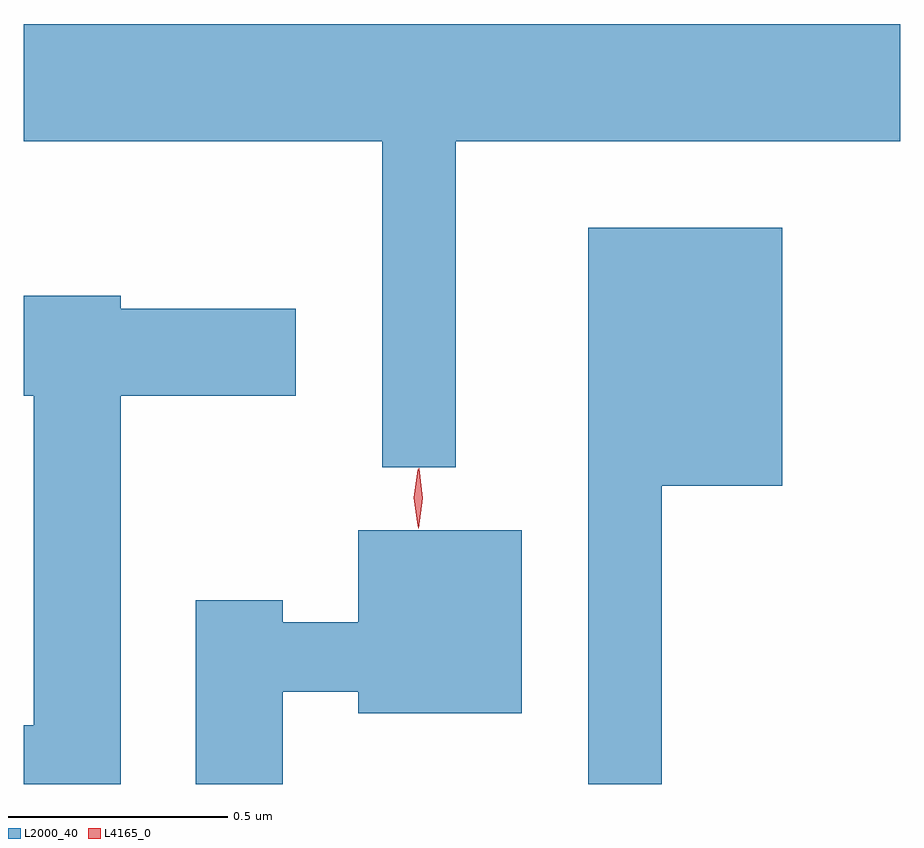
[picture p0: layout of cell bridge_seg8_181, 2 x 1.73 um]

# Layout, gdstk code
import gdstk
lib = gdstk.Library(unit=1e-6, precision=1e-09)
def P(c, l, *ps):  # polygons
    for p in ps: c.add(gdstk.Polygon(p, *l))
L2000_40 = (2000, 40)
L4165_0 = (4165, 0)

bridge_seg8_181 = lib.new_cell('bridge_seg8_181')
P(bridge_seg8_181, L2000_40, [(1319.969,1931.876),(1320.983,1931.876),(1320.983,1932.144),(1318.983,1932.144),(1318.983,1931.876),(1319.801,1931.876),(1319.801,1931.133),(1319.969,1931.133)],
  [(1320.439,1931.091),(1320.714,1931.091),(1320.714,1931.679),(1320.271,1931.679),(1320.271,1930.41),(1320.439,1930.41)],
  [(1319.204,1931.296),(1319.604,1931.296),(1319.604,1931.494),(1319.204,1931.494),(1319.204,1931.524),(1318.983,1931.524),(1318.983,1931.296),(1319.006,1931.296),(1319.006,1930.544),(1318.983,1930.544),(1318.983,1930.41),(1319.204,1930.41)],
  [(1319.574,1930.621),(1319.746,1930.621),(1319.746,1930.571),(1320.119,1930.571),(1320.119,1930.989),(1319.746,1930.989),(1319.746,1930.779),(1319.574,1930.779),(1319.574,1930.829),(1319.376,1930.829),(1319.376,1930.41),(1319.574,1930.41)])
P(bridge_seg8_181, L4165_0, [(1319.883,1930.998),(1319.882,1930.999),(1319.873,1931.063),(1319.882,1931.127),(1319.883,1931.127),(1319.883,1931.127),(1319.893,1931.063),(1319.883,1930.999)],
  [(1319.883,1930.994),(1319.874,1931.062),(1319.884,1931.13),(1319.885,1931.13),(1319.885,1931.13),(1319.894,1931.062),(1319.884,1930.994),(1319.884,1930.994)])

lib.write_gds('bridge_seg8_181.gds')
